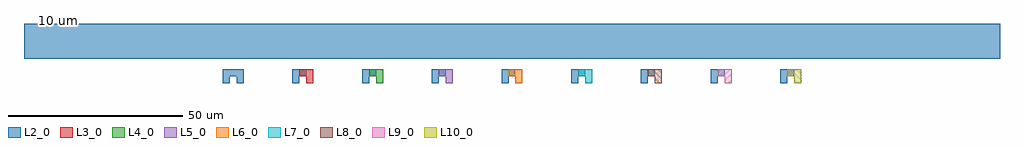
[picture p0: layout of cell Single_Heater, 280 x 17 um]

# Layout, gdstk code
import gdstk
lib = gdstk.Library(unit=1e-6, precision=1e-09)
def P(c, l, *ps):  # polygons
    for p in ps: c.add(gdstk.Polygon(p, *l))
L2_0 = (2, 0)
L3_0 = (3, 0)
L4_0 = (4, 0)
L5_0 = (5, 0)
L6_0 = (6, 0)
L7_0 = (7, 0)
L8_0 = (8, 0)
L9_0 = (9, 0)
L10_0 = (10, 0)

thermocouple_junction_w2 = lib.new_cell('thermocouple_junction_W2_LBAU_ACTIVE_LT2_0_TFalse_OLL0__0c0f1a27')
P(thermocouple_junction_w2, L2_0, [(0,0),(0,4),(4,4),(4,2),(2,2),(2,0)],
  [(4,0),(4,2),(2,2),(2,4),(6,4),(6,0)])

c_thermocouple_junction_w2 = lib.new_cell('thermocouple_junction_W2_LBAU_ACTIVE_LT3_0_TFalse_OLL0__19a90f73')
P(c_thermocouple_junction_w2, L2_0, [(0,0),(0,4),(4,4),(4,2),(2,2),(2,0)])
P(c_thermocouple_junction_w2, L3_0, [(4,0),(4,2),(2,2),(2,4),(6,4),(6,0)])

c_thermocouple_junction_w2_ = lib.new_cell('thermocouple_junction_W2_LBAU_ACTIVE_LT4_0_TFalse_OLL0__708791c6')
P(c_thermocouple_junction_w2_, L2_0, [(0,0),(0,4),(4,4),(4,2),(2,2),(2,0)])
P(c_thermocouple_junction_w2_, L4_0, [(4,0),(4,2),(2,2),(2,4),(6,4),(6,0)])

c_thermocouple_junction_w2__ = lib.new_cell('thermocouple_junction_W2_LBAU_ACTIVE_LT5_0_TFalse_OLL0__a922fcd3')
P(c_thermocouple_junction_w2__, L2_0, [(0,0),(0,4),(4,4),(4,2),(2,2),(2,0)])
P(c_thermocouple_junction_w2__, L5_0, [(4,0),(4,2),(2,2),(2,4),(6,4),(6,0)])

c_thermocouple_junction_w2___ = lib.new_cell('thermocouple_junction_W2_LBAU_ACTIVE_LT6_0_TFalse_OLL0__97f18ff7')
P(c_thermocouple_junction_w2___, L2_0, [(0,0),(0,4),(4,4),(4,2),(2,2),(2,0)])
P(c_thermocouple_junction_w2___, L6_0, [(4,0),(4,2),(2,2),(2,4),(6,4),(6,0)])

c_thermocouple_junction_w2____ = lib.new_cell('thermocouple_junction_W2_LBAU_ACTIVE_LT7_0_TFalse_OLL0__0e91f3d1')
P(c_thermocouple_junction_w2____, L2_0, [(0,0),(0,4),(4,4),(4,2),(2,2),(2,0)])
P(c_thermocouple_junction_w2____, L7_0, [(4,0),(4,2),(2,2),(2,4),(6,4),(6,0)])

c_thermocouple_junction_w2_____ = lib.new_cell('thermocouple_junction_W2_LBAU_ACTIVE_LT8_0_TFalse_OLL0__8e4b3c2b')
P(c_thermocouple_junction_w2_____, L2_0, [(0,0),(0,4),(4,4),(4,2),(2,2),(2,0)])
P(c_thermocouple_junction_w2_____, L8_0, [(4,0),(4,2),(2,2),(2,4),(6,4),(6,0)])

c_thermocouple_junction_w2______ = lib.new_cell('thermocouple_junction_W2_LBAU_ACTIVE_LT9_0_TFalse_OLL0__551a7bc0')
P(c_thermocouple_junction_w2______, L2_0, [(0,0),(0,4),(4,4),(4,2),(2,2),(2,0)])
P(c_thermocouple_junction_w2______, L9_0, [(4,0),(4,2),(2,2),(2,4),(6,4),(6,0)])

c_thermocouple_junction_w2_______ = lib.new_cell('thermocouple_junction_W2_LBAU_ACTIVE_LT10_0_TFalse_OLL0_8552f620')
P(c_thermocouple_junction_w2_______, L2_0, [(0,0),(0,4),(4,4),(4,2),(2,2),(2,0)])
P(c_thermocouple_junction_w2_______, L10_0, [(4,0),(4,2),(2,2),(2,4),(6,4),(6,0)])

single_heater = lib.new_cell('Single_Heater')
P(single_heater, L2_0, [(0,0),(0,10),(280,10),(280,0),(0,0)])
single_heater.add(gdstk.Reference(thermocouple_junction_w2, (57,-7)))
single_heater.add(gdstk.Reference(c_thermocouple_junction_w2, (77,-7)))
single_heater.add(gdstk.Reference(c_thermocouple_junction_w2_, (97,-7)))
single_heater.add(gdstk.Reference(c_thermocouple_junction_w2__, (117,-7)))
single_heater.add(gdstk.Reference(c_thermocouple_junction_w2___, (137,-7)))
single_heater.add(gdstk.Reference(c_thermocouple_junction_w2____, (157,-7)))
single_heater.add(gdstk.Reference(c_thermocouple_junction_w2_____, (177,-7)))
single_heater.add(gdstk.Reference(c_thermocouple_junction_w2______, (197,-7)))
single_heater.add(gdstk.Reference(c_thermocouple_junction_w2_______, (217,-7)))
single_heater.add(gdstk.Label('10 um', (10,11), layer=0, texttype=0))
single_heater.add(gdstk.Label('Chain of stepped heaters spaced 20 um\nwith TCs spaced 20 um with each TC on separate layer', (10,40), layer=0, texttype=0))

lib.write_gds('Single_Heater.gds')
